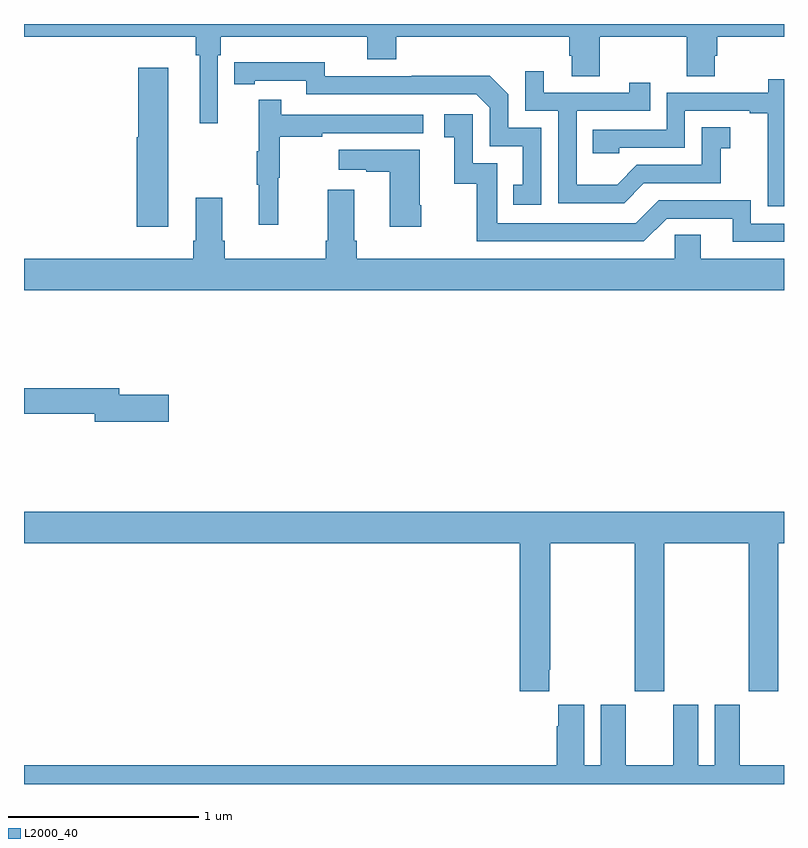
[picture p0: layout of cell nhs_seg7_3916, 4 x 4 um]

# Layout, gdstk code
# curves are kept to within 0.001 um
import gdstk
lib = gdstk.Library(unit=1e-6, precision=1e-09)
def P(c, l, *ps):  # polygons
    for p in ps: c.add(gdstk.Polygon(p, *l))
L2000_40 = (2000, 40)

nhs_seg7_3916 = lib.new_cell('nhs_seg7_3916')
P(nhs_seg7_3916, L2000_40, [(359,1017.932),(359.905,1017.932),(359.905,1017.836),(359.924,1017.836),(359.924,1017.477),(360.021,1017.477),(360.021,1017.836),(360.035,1017.836),(360.035,1017.932),(360.806,1017.932),(360.806,1017.815),(360.959,1017.815),(360.959,1017.932),(361.871,1017.932),(361.871,1017.834),(361.883,1017.834),(361.883,1017.724),(362.031,1017.724),(362.031,1017.932),(362.488,1017.932),(362.488,1017.724),(362.635,1017.724),(362.635,1017.834),(362.648,1017.834),(362.648,1017.932),(363,1017.932),(363,1018),(359,1018)],
  [(361.722,1017.453),(361.548,1017.453),(361.548,1017.63),(361.45,1017.728),(361.042,1017.728),(361.042,1017.726),(360.582,1017.726),(360.582,1017.799),(360.106,1017.798),(360.106,1017.682),(360.214,1017.682),(360.214,1017.702),(360.486,1017.702),(360.486,1017.63),(361.38,1017.63),(361.452,1017.558),(361.452,1017.357),(361.625,1017.357),(361.625,1017.153),(361.576,1017.153),(361.576,1017.048),(361.722,1017.048)],
  [(359.758,1017.769),(359.6,1017.769),(359.6,1017.405),(359.594,1017.405),(359.594,1016.934),(359.758,1016.934)],
  [(362.263,1017.162),(362.667,1017.162),(362.667,1017.347),(362.716,1017.347),(362.716,1017.457),(362.568,1017.457),(362.568,1017.258),(362.226,1017.258),(362.122,1017.154),(361.908,1017.154),(361.908,1017.543),(362.297,1017.543),(362.297,1017.691),(362.186,1017.691),(362.186,1017.639),(361.735,1017.639),(361.735,1017.751),(361.638,1017.751),(361.638,1017.543),(361.812,1017.543),(361.812,1017.057),(362.158,1017.057)],
  [(363,1017.708),(362.916,1017.708),(362.916,1017.639),(362.382,1017.639),(362.382,1017.444),(361.993,1017.444),(361.993,1017.321),(362.133,1017.321),(362.133,1017.348),(362.478,1017.348),(362.478,1017.543),(362.819,1017.543),(362.819,1017.531),(362.915,1017.531),(362.915,1017.247),(362.914,1017.247),(362.914,1017.041),(363,1017.041)],
  [(360.338,1017.192),(360.346,1017.192),(360.346,1017.406),(360.569,1017.406),(360.569,1017.426),(361.102,1017.426),(361.102,1017.522),(360.353,1017.522),(360.353,1017.601),(360.236,1017.601),(360.236,1017.329),(360.225,1017.329),(360.225,1017.155),(360.236,1017.155),(360.236,1016.943),(360.338,1016.943)],
  [(363,1016.949),(362.826,1016.949),(362.826,1017.072),(362.34,1017.072),(362.22,1016.952),(361.491,1016.952),(361.491,1017.267),(361.362,1017.267),(361.362,1017.526),(361.212,1017.526),(361.212,1017.405),(361.265,1017.405),(361.265,1017.159),(361.383,1017.159),(361.383,1016.856),(362.262,1016.856),(362.382,1016.976),(362.729,1016.976),(362.729,1016.853),(363,1016.853)],
  [(361.092,1017.046),(361.084,1017.046),(361.084,1017.337),(360.657,1017.337),(360.657,1017.233),(360.8,1017.233),(360.8,1017.223),(360.926,1017.223),(360.926,1016.934),(361.092,1016.934)],
  [(363,1016.764),(362.563,1016.764),(362.563,1016.891),(362.424,1016.891),(362.424,1016.764),(360.752,1016.764),(360.752,1016.86),(360.739,1016.86),(360.739,1017.127),(360.599,1017.127),(360.599,1016.86),(360.587,1016.86),(360.587,1016.764),(360.056,1016.764),(360.056,1016.86),(360.043,1016.86),(360.043,1017.085),(359.903,1017.085),(359.903,1016.86),(359.891,1016.86),(359.891,1016.764),(359,1016.764),(359,1016.6),(363,1016.6)],
  [(359.761,1016.048),(359.5,1016.048),(359.5,1016.084),(359,1016.084),(359,1015.948),(359.372,1015.948),(359.372,1015.906),(359.761,1015.906)],
  [(361.765,1014.601),(361.77,1014.601),(361.77,1015.268),(362.215,1015.268),(362.215,1014.489),(362.37,1014.489),(362.37,1015.268),(362.815,1015.268),(362.815,1014.489),(362.97,1014.489),(362.97,1015.268),(363,1015.268),(363,1015.432),(359,1015.432),(359,1015.268),(361.61,1015.268),(361.61,1014.489),(361.765,1014.489)],
  [(363,1014.1),(362.767,1014.1),(362.767,1014.418),(362.636,1014.418),(362.636,1014.1),(362.548,1014.1),(362.548,1014.418),(362.417,1014.418),(362.417,1014.1),(362.167,1014.1),(362.167,1014.418),(362.036,1014.418),(362.036,1014.1),(361.948,1014.1),(361.948,1014.418),(361.811,1014.418),(361.811,1014.305),(361.805,1014.305),(361.805,1014.1),(359,1014.1),(359,1014),(363,1014)])

lib.write_gds('nhs_seg7_3916.gds')
